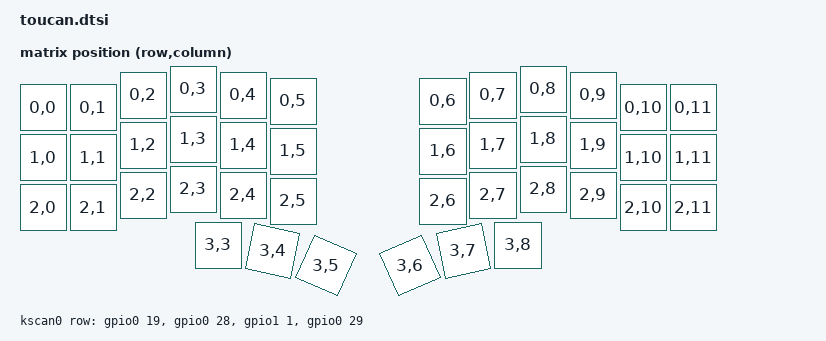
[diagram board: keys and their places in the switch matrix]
#include <input/processors.dtsi>
#include <dt-bindings/input/input-event-codes.h>
#include <dt-bindings/zmk/input_transform.h>
#include <dt-bindings/zmk/keys.h>
#include <dt-bindings/zmk/matrix_transform.h>
#include <physical_layouts.dtsi>

//#define TOUCAN_WIN_MODE

/ {
    chosen {
        zmk,kscan = &kscan0;
        zmk,physical-layout = &default_layout;
        //zmk,physical-layout = &physical_layout0;
    };

    kscan0: kscan_0 {
        compatible = "zmk,kscan-gpio-matrix";
        diode-direction = "col2row";
        wakeup-source;

    row-gpios
    = <&gpio0 19 (GPIO_ACTIVE_HIGH | GPIO_PULL_DOWN)>
    , <&gpio0 28 (GPIO_ACTIVE_HIGH | GPIO_PULL_DOWN)>
    , <&gpio1 1 (GPIO_ACTIVE_HIGH | GPIO_PULL_DOWN)>
    , <&gpio0 29 (GPIO_ACTIVE_HIGH | GPIO_PULL_DOWN)>
    ;
    };

    default_layout: default_layout {
        compatible = "zmk,physical-layout";
        display-name = "Default Layout";
        transform = <&default_transform>;

        keys  //                     w   h    x    y     rot    rx    ry
            = <&key_physical_attrs 100 100    0   37       0     0     0>
            , <&key_physical_attrs 100 100  100   37       0     0     0>
            , <&key_physical_attrs 100 100  200   12       0     0     0>
            , <&key_physical_attrs 100 100  300    0       0     0     0>
            , <&key_physical_attrs 100 100  400   12       0     0     0>
            , <&key_physical_attrs 100 100  500   24       0     0     0>
            , <&key_physical_attrs 100 100  800   24       0     0     0>
            , <&key_physical_attrs 100 100  900   12       0     0     0>
            , <&key_physical_attrs 100 100 1000    0       0     0     0>
            , <&key_physical_attrs 100 100 1100   12       0     0     0>
            , <&key_physical_attrs 100 100 1200   37       0     0     0>
            , <&key_physical_attrs 100 100 1300   37       0     0     0>
            , <&key_physical_attrs 100 100    0  137       0     0     0>
            , <&key_physical_attrs 100 100  100  137       0     0     0>
            , <&key_physical_attrs 100 100  200  112       0     0     0>
            , <&key_physical_attrs 100 100  300  100       0     0     0>
            , <&key_physical_attrs 100 100  400  112       0     0     0>
            , <&key_physical_attrs 100 100  500  124       0     0     0>
            , <&key_physical_attrs 100 100  800  124       0     0     0>
            , <&key_physical_attrs 100 100  900  112       0     0     0>
            , <&key_physical_attrs 100 100 1000  100       0     0     0>
            , <&key_physical_attrs 100 100 1100  112       0     0     0>
            , <&key_physical_attrs 100 100 1200  137       0     0     0>
            , <&key_physical_attrs 100 100 1300  137       0     0     0>
            , <&key_physical_attrs 100 100    0  237       0     0     0>
            , <&key_physical_attrs 100 100  100  237       0     0     0>
            , <&key_physical_attrs 100 100  200  212       0     0     0>
            , <&key_physical_attrs 100 100  300  200       0     0     0>
            , <&key_physical_attrs 100 100  400  212       0     0     0>
            , <&key_physical_attrs 100 100  500  224       0     0     0>
            , <&key_physical_attrs 100 100  800  224       0     0     0>
            , <&key_physical_attrs 100 100  900  212       0     0     0>
            , <&key_physical_attrs 100 100 1000  200       0     0     0>
            , <&key_physical_attrs 100 100 1100  212       0     0     0>
            , <&key_physical_attrs 100 100 1200  237       0     0     0>
            , <&key_physical_attrs 100 100 1300  237       0     0     0>
            , <&key_physical_attrs 100 100  350  312       0     0     0>
            , <&key_physical_attrs 100 100  450  312    1200   450   412>
            , <&key_physical_attrs 100 100  548  328    2400   548   433>
            , <&key_physical_attrs 100 100  752  328  (-2400)  852   433>
            , <&key_physical_attrs 100 100  850  312  (-1200)  950   412>
            , <&key_physical_attrs 100 100  950  312       0     0     0>
            ;
    };

    default_transform: keymap_transform_0 {
        compatible = "zmk,matrix-transform";
        columns = <12>;
        rows = <4>;
        // | SW1  | SW2  | SW3  | SW4  | SW5  | SW6  |   | SW6  | SW5  | SW4  | SW3  | SW2  | SW1  |
        // | SW7  | SW8  | SW9  | SW10 | SW11 | SW12 |   | SW12 | SW11 | SW10 | SW9  | SW8  | SW7  |
        // | SW13 | SW14 | SW15 | SW16 | SW17 | SW18 |   | SW18 | SW17 | SW16 | SW15 | SW14 | SW13 |
        //                      | SW19 | SW20 | SW21 |   | SW21 | SW20 | SW19 |
                map = <
        RC(0,0) RC(0,1) RC(0,2) RC(0,3) RC(0,4) RC(0,5)  RC(0,6) RC(0,7) RC(0,8) RC(0,9) RC(0,10) RC(0,11)
        RC(1,0) RC(1,1) RC(1,2) RC(1,3) RC(1,4) RC(1,5)  RC(1,6) RC(1,7) RC(1,8) RC(1,9) RC(1,10) RC(1,11)
        RC(2,0) RC(2,1) RC(2,2) RC(2,3) RC(2,4) RC(2,5)  RC(2,6) RC(2,7) RC(2,8) RC(2,9) RC(2,10) RC(2,11)
                                RC(3,3) RC(3,4) RC(3,5)  RC(3,6) RC(3,7) RC(3,8)
        >;
    };
};

/ {
    input_processors {
        zip_zoom_mapper: zip_zoom_mapper {
            compatible = "zmk,input-processor-zoom";
            #input-processor-cells = <0>;
            event-code = <INPUT_REL_MISC>;
            sensitivity = <10>;
#ifdef TOUCAN_WIN_MODE
            bindings = <&kp LC(MINUS)>, <&kp LC(EQUAL)>;
#else
            bindings = <&kp LG(MINUS)>, <&kp LG(EQUAL)>;
#endif
            track-remainders;
        };

        is_touching_processor:is_touching_processor {
            compatible = "zmk,input-processor-behaviors";
            #input-processor-cells = <0>;

            codes = <INPUT_BTN_TOUCH>;
            bindings  = <&mo 3>;
        };

        // チェーンの前寄りに置かないこと。速度をスケーラ適用後の値で測る必要があり、
        // 前に置くと生の値で慣性が走る。
        scroll_momentum: scroll_momentum {
            compatible = "zmk,input-processor-scroll-momentum";
            #input-processor-cells = <0>;
            codes = <INPUT_REL_WHEEL INPUT_REL_HWHEEL>;
            fast-threshold = <75>;
            fast-gain = <1100>;
            coast-gain = <1000>;
            max-coast-speed = <90>;
            decay = <850>;
            tick-ms = <25>;
            release-ms = <60>;
            window-ms = <120>;
            max-duration-ms = <1000>;
            stop-on-move;
            track-remainders;
        };

        // zip_xy_to_scroll_mapper より後ろに置かないこと。後ろだと1本指ドラッグも
        // ホイールになっていて、カーソル移動でショートカットが飛ぶ。
        nav_swipe_mapper: nav_swipe_mapper {
            compatible = "zmk,input-processor-swipe-keys";
            #input-processor-cells = <0>;
            codes = <INPUT_REL_HWHEEL INPUT_REL_WHEEL>;
            threshold = <15>;
            // 0 に近い値にしないのは、スワイプ中でもホイールが数十ms途切れるため。
            timeout-ms = <300>;
            throttle-ms = <0>;
#ifdef TOUCAN_WIN_MODE
            bindings = <&kp LC(LG(RIGHT))>, <&kp LC(LG(LEFT))>,
                       <&kp LG(D)>, <&kp LG(TAB)>;
#else
            // ⌘ ではなく ⌃ なのは、操作スペース切り替えが ⌃⇧←/→、
            // Mission Control が ⌃↑、アプリExposé が ⌃↓ のため。
            bindings = <&kp LC(LS(RIGHT))>, <&kp LC(LS(LEFT))>,
                       <&kp LC(DOWN)>, <&kp LC(UP)>;
#endif
        };

        edge_scroll: edge_scroll {
            compatible = "zmk,input-processor-edge-scroll";
            #input-processor-cells = <0>;
            position-code = <INPUT_ABS_X>;
            move-code = <INPUT_REL_Y>;
            scroll-code = <INPUT_REL_WHEEL>;
            // 解像度 2048 を前提にした値にしないのは、実測レンジが約 0..1023 で、
            // 2048 前提だと帯がレンジ外に出てしまうため。
            edge-min = <980>;
            edge-max = <65535>;
        };

        // 割り当ては nav_swipe_mapper と揃える。片方だけ変えると2本指と3本指で
        // 挙動が食い違う。
        swipe_button_mapper: swipe_button_mapper {
            compatible = "zmk,input-processor-behaviors";
            #input-processor-cells = <0>;
            codes = <INPUT_BTN_NORTH INPUT_BTN_EAST INPUT_BTN_SOUTH INPUT_BTN_WEST>;
#ifdef TOUCAN_WIN_MODE
            bindings = <&kp LG(TAB)>, <&kp LC(LG(RIGHT))>, <&kp LG(D)>, <&kp LC(LG(LEFT))>;
#else
            bindings = <&kp LC(UP)>, <&kp LC(LS(RIGHT))>, <&kp LC(DOWN)>, <&kp LC(LS(LEFT))>;
#endif
        };
    };


    split_inputs {
        #address-cells = <1>;
        #size-cells = <0>;

        trackpad_split: trackpad_split@0 {
            compatible = "zmk,input-split";
            reg = <0>;
        };
    };

    trackpad_listener: trackpad_listener {
        compatible = "zmk,input-listener";
        status = "disabled";
        device = <&trackpad_split>;
        // edge_scroll を後ろに回さないこと。絶対座標を消費して REL_Y をホイールに
        // 差し替えるので、他のプロセッサが先に生の値を見てしまう。
        input-processors = <&edge_scroll>, <&zip_xy_scaler 100 100>, <&zip_scroll_scaler 1 40>, <&zip_zoom_mapper>, <&is_touching_processor>, <&swipe_button_mapper>, <&scroll_momentum>;
        nav_scroller {
            layers = <1>;
            input-processors = <
                // edge_scroll をここで省略しないこと。override が一致するとベースの
                // チェーンは走らず(process-next 未指定時)、「ベースで触り始めて NAV に
                // 切り替えてから離す」操作でラッチが residual に残る。
                &edge_scroll
                &nav_swipe_mapper
                &zip_xy_to_scroll_mapper
                &zip_scroll_scaler 1 40
                &zip_scroll_transform (INPUT_TRANSFORM_X_INVERT | INPUT_TRANSFORM_Y_INVERT)
                &scroll_momentum
            >;
        };

        // FUN レイヤに override は置かない(ベースのチェーンをそのまま使いたいため)。
    };

    // トラックパッドのリスナーに載せないのは、慣性のイベントがチェーンを再通過して
    // 再スケール・再トリガされてしまうため。
    scroll_momentum_listener: scroll_momentum_listener {
        compatible = "zmk,input-listener";
        status = "disabled";
        device = <&scroll_momentum>;
    };
};
